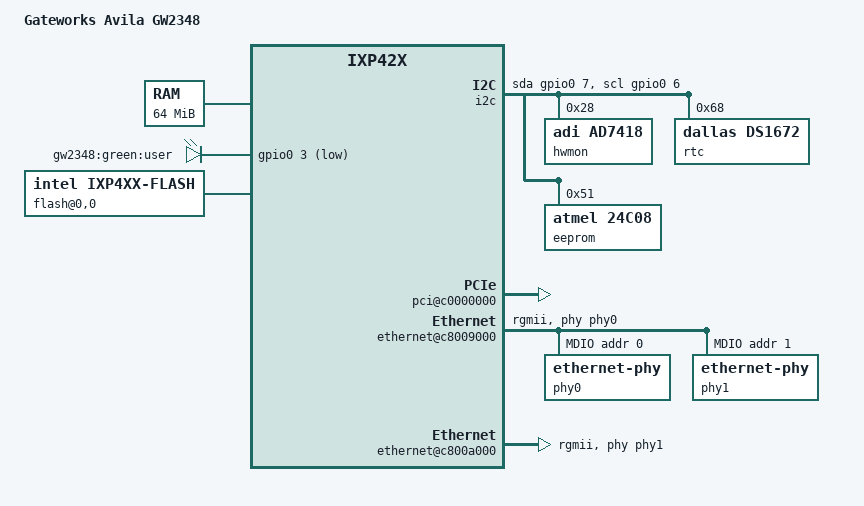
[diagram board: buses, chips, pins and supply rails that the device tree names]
// SPDX-License-Identifier: ISC
/*
 * Device Tree file for the Gateworks Avila GW2348 board.
 * This machine is based on IXP425.
 */

/dts-v1/;

#include "intel-ixp42x.dtsi"
#include <dt-bindings/input/input.h>

/ {
	model = "Gateworks Avila GW2348";
	compatible = "gateworks,gw2348", "intel,ixp42x";
	#address-cells = <1>;
	#size-cells = <1>;

	memory@0 {
		device_type = "memory";
		reg = <0x00000000 0x4000000>;
	};

	chosen {
		bootargs = "console=ttyS0,115200n8";
		stdout-path = "uart0:115200n8";
	};

	aliases {
		serial0 = &uart0;
	};

	leds {
		compatible = "gpio-leds";
		led-user {
			label = "gw2348:green:user";
			gpios = <&gpio0 3 GPIO_ACTIVE_LOW>;
			default-state = "on";
			linux,default-trigger = "heartbeat";
		};
	};

	i2c {
		compatible = "i2c-gpio";
		sda-gpios = <&gpio0 7 (GPIO_ACTIVE_HIGH|GPIO_OPEN_DRAIN)>;
		scl-gpios = <&gpio0 6 (GPIO_ACTIVE_HIGH|GPIO_OPEN_DRAIN)>;
		#address-cells = <1>;
		#size-cells = <0>;

		hwmon@28 {
			compatible = "adi,ad7418";
			reg = <0x28>;
		};
		rtc: ds1672@68 {
			compatible = "dallas,ds1672";
			reg = <0x68>;
		};
		eeprom@51 {
			compatible = "atmel,24c08";
			reg = <0x51>;
			pagesize = <16>;
			size = <1024>;
			read-only;
		};
	};

	soc {
		bus@c4000000 {
			flash@0,0 {
				compatible = "intel,ixp4xx-flash", "cfi-flash";
				bank-width = <2>;
				/* Enable writes on the expansion bus */
				intel,ixp4xx-eb-write-enable = <1>;
				/* 16 MB of Flash mapped in at CS0 */
				reg = <0 0x00000000 0x1000000>;

				partitions {
					compatible = "redboot-fis";
					/* Eraseblock at 0x0fe0000 */
					fis-index-block = <0x7f>;
				};
			};
			ide@1,0 {
				compatible = "intel,ixp4xx-compact-flash";
				/*
				 * Set up expansion bus config to a really slow timing.
				 * The CF driver will dynamically reconfigure these timings
				 * depending on selected PIO mode (0-4).
				 */
				intel,ixp4xx-eb-t1 = <3>; // 3 cycles extra address phase
				intel,ixp4xx-eb-t2 = <3>; // 3 cycles extra setup phase
				intel,ixp4xx-eb-t3 = <15>; // 15 cycles extra strobe phase
				intel,ixp4xx-eb-t4 = <3>; // 3 cycles extra hold phase
				intel,ixp4xx-eb-t5 = <15>; // 15 cycles extra recovery phase
				intel,ixp4xx-eb-cycle-type = <0>; // Intel cycle type
				intel,ixp4xx-eb-byte-access-on-halfword = <1>;
				intel,ixp4xx-eb-mux-address-and-data = <0>;
				intel,ixp4xx-eb-ahb-split-transfers = <0>;
				intel,ixp4xx-eb-write-enable = <1>;
				intel,ixp4xx-eb-byte-access = <1>;
				/* First register set is CMD second is CTL (notice it uses CS2) */
				reg = <1 0x00000000 0x1000000>, <2 0x00000000 0x1000000>;
				interrupt-parent = <&gpio0>;
				interrupts = <12 IRQ_TYPE_EDGE_RISING>;
			};
			/*
			 * FIXME: Latch LEDs or extra UARTs at CS4
			 */
		};

		pci@c0000000 {
			status = "ok";

			/*
			 * Taken from Avila PCI boardfile.
			 *
			 * We have up to 4 slots (IDSEL) with 4 swizzled IRQs.
			 */
			#interrupt-cells = <1>;
			interrupt-map-mask = <0xf800 0 0 7>;
			interrupt-map =
			/* IDSEL 1 */
			<0x0800 0 0 1 &gpio0 11 IRQ_TYPE_LEVEL_LOW>, /* INT A on slot 1 is irq 11 */
			<0x0800 0 0 2 &gpio0 10 IRQ_TYPE_LEVEL_LOW>, /* INT B on slot 1 is irq 10 */
			<0x0800 0 0 3 &gpio0 9  IRQ_TYPE_LEVEL_LOW>, /* INT C on slot 1 is irq 9 */
			<0x0800 0 0 4 &gpio0 8  IRQ_TYPE_LEVEL_LOW>, /* INT D on slot 1 is irq 8 */
			/* IDSEL 2 */
			<0x1000 0 0 1 &gpio0 10 IRQ_TYPE_LEVEL_LOW>, /* INT A on slot 2 is irq 10 */
			<0x1000 0 0 2 &gpio0 9  IRQ_TYPE_LEVEL_LOW>, /* INT B on slot 2 is irq 9 */
			<0x1000 0 0 3 &gpio0 8  IRQ_TYPE_LEVEL_LOW>, /* INT C on slot 2 is irq 8 */
			<0x1000 0 0 4 &gpio0 11 IRQ_TYPE_LEVEL_LOW>, /* INT D on slot 2 is irq 11 */
			/* IDSEL 3 */
			<0x1800 0 0 1 &gpio0 9  IRQ_TYPE_LEVEL_LOW>, /* INT A on slot 3 is irq 9 */
			<0x1800 0 0 2 &gpio0 8  IRQ_TYPE_LEVEL_LOW>, /* INT B on slot 3 is irq 8 */
			<0x1800 0 0 3 &gpio0 11 IRQ_TYPE_LEVEL_LOW>, /* INT C on slot 3 is irq 11 */
			<0x1800 0 0 4 &gpio0 10 IRQ_TYPE_LEVEL_LOW>, /* INT D on slot 3 is irq 10 */
			/* IDSEL 4 */
			<0x2000 0 0 1 &gpio0 8  IRQ_TYPE_LEVEL_LOW>, /* INT A on slot 4 is irq 8 */
			<0x2000 0 0 2 &gpio0 11 IRQ_TYPE_LEVEL_LOW>, /* INT B on slot 4 is irq 11 */
			<0x2000 0 0 3 &gpio0 10 IRQ_TYPE_LEVEL_LOW>, /* INT C on slot 4 is irq 10 */
			<0x2000 0 0 4 &gpio0 9  IRQ_TYPE_LEVEL_LOW>; /* INT D on slot 4 is irq 9 */
		};

		/* EthB */
		ethernet@c8009000 {
			status = "ok";
			queue-rx = <&qmgr 3>;
			queue-txready = <&qmgr 20>;
			phy-mode = "rgmii";
			phy-handle = <&phy0>;

			mdio {
				#address-cells = <1>;
				#size-cells = <0>;

				phy0: ethernet-phy@0 {
					reg = <0>;
				};

				phy1: ethernet-phy@1 {
					reg = <1>;
				};
			};
		};

		/* EthC */
		ethernet@c800a000 {
			status = "ok";
			queue-rx = <&qmgr 4>;
			queue-txready = <&qmgr 21>;
			phy-mode = "rgmii";
			phy-handle = <&phy1>;
		};
	};
};
